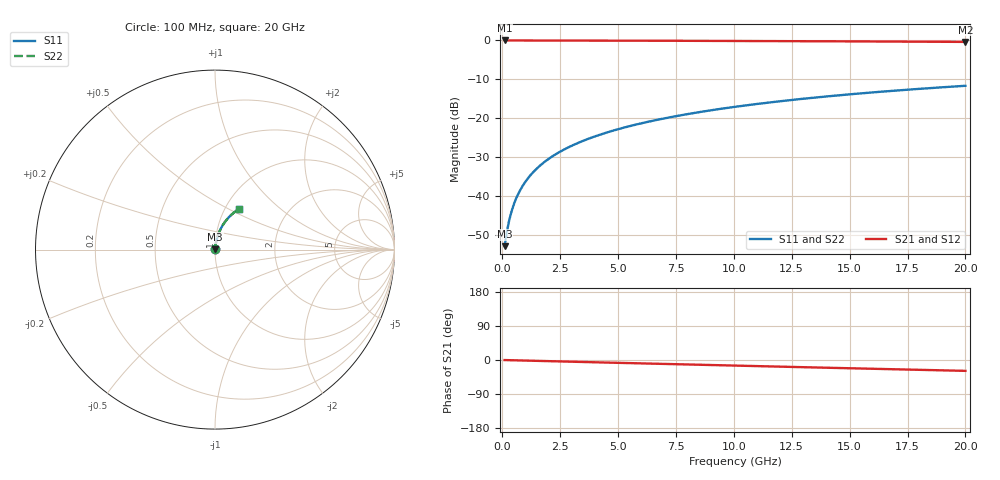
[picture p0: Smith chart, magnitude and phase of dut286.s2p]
! Touchstone file exported from HFSS 2026.1.0
!  File:  C:/ffzhzh/LocalFiles/Ansys_Project_Files/temp_train_TMRDL_286_1782985428_42984.aedt
!  Generated:  05:45:01 PM Jul  2, 2026
!  Design:  TMRDL
!  Project:  temp_train_TMRDL_286_1782985428_42984
! Variables:
!  h_bsmrdl = 2um
!  h_ox = 20um
!  h_rdl = 5um
!  h_sub = 80um
!  h_tmrdl = 5.93um
!  h_tsv = 80um
!  h_via = 3um
!  l_bsmrdl = 300um
!  l_sub = 819.32um
!  l_tmrdl = 419.32um
!  m_sub = 200um
!  pitch = 39.42um
!  r_tsv = 6um
!  s_tmrdl = 10um
!  w_bsmrdl = 18um
!  w_sub = 500um
!  w_tmrdl = 16.64um
!  x_tsv_center1 = 427.64um
!  x_tsv_center2 = 745.64um
!  x_tsv_center3 = 1181.6um
!  x_tsv_center4 = 1499.6um
!  x_tsv_center5 = 1935.56um
!  x_tsv_center6 = 2253.56um
# GHz S MA R 50.000000
! Terminal data exported
! Port[1] = TM_RDL1_1_T1
! Port[2] = TM_RDL1_1_T2
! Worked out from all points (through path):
!   200 points, 100 MHz to 20 GHz, reference 50 ohm
!   highest |S21| = -0.01 dB at 100 MHz (marker M1); lowest = -0.4 dB at 20 GHz (marker M2)
!   group delay of S21, straight-line fit = 3.98 ps
!   lowest |S11| = -52.8 dB at 100 MHz (marker M3), VSWR 1.00, Z = 50.2 + j0.161 ohm
!   |S11| at or under -10 dB: start of sweep to end of sweep
!   |S22| runs from -52.8 to -11.7 dB; largest |S21 - S12| = 2e-15
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0.1  0.002283 44.7  0.9984 -0.2  0.9984 -0.2  0.002283 44.7
! Gamma 0 0 0 0
! Port Impedance 50 0 50 0
0.2  0.003531 63.2  0.9983 -0.3  0.9983 -0.3  0.003529 63.2
0.3  0.004937 71.2  0.9982 -0.5  0.9982 -0.5  0.004933 71.2
0.4  0.006396 75.3  0.9981 -0.6  0.9981 -0.6  0.006392 75.3
0.5  0.007879 77.7  0.9981 -0.8  0.9981 -0.8  0.007874 77.7
0.6  0.009372 79.2  0.998 -0.9  0.998 -0.9  0.009367 79.2
0.8  0.01237 80.9  0.9979 -1.2  0.9979 -1.2  0.01237 80.9
1.1  0.01686 82.0  0.9977 -1.7  0.9977 -1.7  0.01685 82.0
1.3  0.01984 82.3  0.9976 -2.0  0.9976 -2.0  0.01983 82.3
1.5  0.02279 82.4  0.9974 -2.3  0.9974 -2.3  0.02279 82.4
1.8  0.0272 82.3  0.9972 -2.7  0.9972 -2.7  0.02719 82.3
2.1  0.03156 82.1  0.9969 -3.2  0.9969 -3.2  0.03156 82.1
2.7  0.04019 81.6  0.9962 -4.1  0.9962 -4.1  0.04019 81.6
3.5  0.05154 80.8  0.9952 -5.3  0.9952 -5.3  0.05153 80.8
4.2  0.06135 80.0  0.9942 -6.3  0.9942 -6.3  0.06135 80.0
5  0.07246 79.1  0.993 -7.5  0.993 -7.5  0.07246 79.1
6.8  0.09711 76.8  0.9901 -10.1  0.9901 -10.1  0.09711 76.8
8.3  0.1173 74.9  0.9873 -12.3  0.9873 -12.3  0.1173 74.9
10.1  0.1411 72.5  0.9836 -14.9  0.9836 -14.9  0.1411 72.5
13.4  0.1833 68.2  0.9758 -19.6  0.9758 -19.6  0.1833 68.2
16.7  0.2235 63.8  0.9667 -24.2  0.9667 -24.2  0.2235 63.8
20  0.2614 59.5  0.9567 -28.7  0.9567 -28.7  0.2614 59.5
